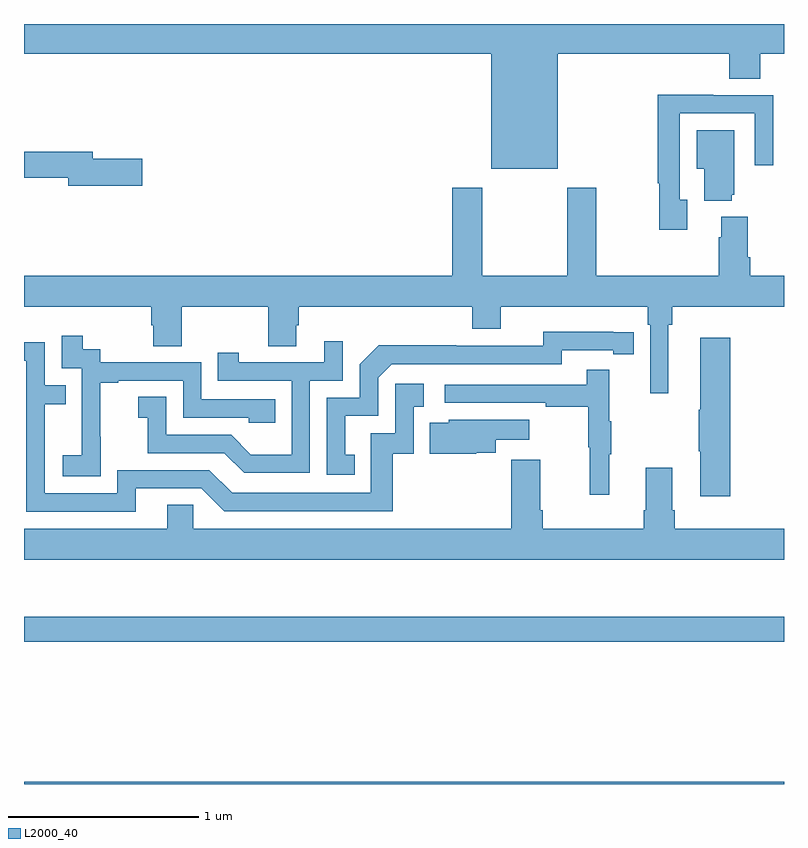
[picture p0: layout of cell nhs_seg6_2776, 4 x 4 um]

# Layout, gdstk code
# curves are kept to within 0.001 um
import gdstk
lib = gdstk.Library(unit=1e-6, precision=1e-09)
def R(c, l, rs):  # rectangles x0, y0, x1, y1
    for r in rs: c.add(gdstk.rectangle(r[:2], r[2:], *l))
def P(c, l, *ps):  # polygons
    for p in ps: c.add(gdstk.Polygon(p, *l))
L2000_40 = (2000, 40)

nhs_seg6_2776 = lib.new_cell('nhs_seg6_2776')
R(nhs_seg6_2776, L2000_40, [(275,935.5,279,935.512), (275,936.25,279,936.379)])
P(nhs_seg6_2776, L2000_40, [(277.81,939.344),(278.711,939.344),(278.711,939.211),(278.876,939.211),(278.876,939.344),(279,939.344),(279,939.5),(275,939.5),(275,939.344),(277.46,939.344),(277.46,938.738),(277.81,938.738)],
  [(278.491,938.574),(278.451,938.574),(278.451,939.03),(278.847,939.03),(278.847,938.757),(278.943,938.757),(278.943,939.126),(278.627,939.126),(278.627,939.128),(278.335,939.128),(278.335,938.662),(278.343,938.662),(278.343,938.418),(278.491,938.418)],
  [(278.726,938.601),(278.737,938.601),(278.737,938.941),(278.54,938.941),(278.54,938.738),(278.579,938.738),(278.579,938.57),(278.726,938.57)],
  [(275.623,938.792),(275.362,938.792),(275.362,938.828),(275,938.828),(275,938.692),(275.234,938.692),(275.234,938.65),(275.623,938.65)],
  [(278.392,937.916),(278.411,937.916),(278.411,938.012),(279,938.012),(279,938.176),(278.822,938.176),(278.822,938.272),(278.809,938.272),(278.809,938.485),(278.669,938.485),(278.669,938.378),(278.657,938.378),(278.657,938.176),(278.013,938.176),(278.013,938.638),(277.858,938.638),(277.858,938.176),(277.413,938.176),(277.413,938.638),(277.253,938.638),(277.253,938.176),(275,938.176),(275,938.012),(275.669,938.012),(275.669,937.914),(275.681,937.914),(275.681,937.804),(275.829,937.804),(275.829,938.012),(276.286,938.012),(276.286,937.804),(276.433,937.804),(276.433,937.914),(276.446,937.914),(276.446,938.012),(277.358,938.012),(277.358,937.895),(277.51,937.895),(277.51,938.012),(278.282,938.012),(278.282,937.916),(278.295,937.916),(278.295,937.557),(278.392,937.557)],
  [(276.74,937.233),(276.691,937.233),(276.691,937.437),(276.864,937.437),(276.864,937.638),(276.936,937.71),(277.83,937.71),(277.83,937.782),(278.102,937.782),(278.102,937.762),(278.21,937.762),(278.21,937.878),(277.734,937.879),(277.734,937.806),(277.274,937.806),(277.274,937.808),(276.866,937.808),(276.768,937.71),(276.768,937.533),(276.594,937.533),(276.594,937.128),(276.74,937.128)],
  [(275.403,937.327),(275.402,937.327),(275.402,937.611),(275.497,937.611),(275.497,937.623),(275.838,937.623),(275.838,937.428),(276.183,937.428),(276.183,937.401),(276.323,937.401),(276.323,937.524),(275.934,937.524),(275.934,937.719),(275.4,937.719),(275.4,937.788),(275.308,937.788),(275.308,937.858),(275.199,937.858),(275.199,937.689),(275.304,937.689),(275.304,937.46),(275.303,937.46),(275.303,937.231),(275.205,937.231),(275.205,937.121),(275.403,937.121)],
  [(278.717,937.849),(278.558,937.849),(278.558,937.469),(278.551,937.469),(278.551,937.252),(278.558,937.252),(278.558,937.014),(278.717,937.014)],
  [(276.504,937.623),(276.678,937.623),(276.678,937.831),(276.581,937.831),(276.581,937.719),(276.13,937.719),(276.13,937.771),(276.019,937.771),(276.019,937.623),(276.408,937.623),(276.408,937.234),(276.194,937.234),(276.09,937.338),(275.748,937.338),(275.748,937.537),(275.601,937.537),(275.601,937.427),(275.65,937.427),(275.65,937.242),(276.053,937.242),(276.158,937.137),(276.504,937.137)],
  [(275.587,937.056),(275.934,937.056),(276.054,936.936),(276.941,936.936),(276.941,937.239),(277.05,937.239),(277.05,937.485),(277.105,937.485),(277.105,937.606),(276.954,937.606),(276.954,937.347),(276.825,937.347),(276.825,937.032),(276.096,937.032),(275.976,937.152),(275.49,937.152),(275.49,937.029),(275.109,937.029),(275.109,937.498),(275.219,937.498),(275.219,937.599),(275.109,937.599),(275.109,937.824),(275,937.824),(275,937.728),(275.013,937.728),(275.013,936.933),(275.587,936.933)],
  [(278.081,937.235),(278.092,937.235),(278.092,937.409),(278.081,937.409),(278.081,937.681),(277.963,937.681),(277.963,937.602),(277.215,937.602),(277.215,937.506),(277.747,937.506),(277.747,937.486),(277.971,937.486),(277.971,937.272),(277.978,937.272),(277.978,937.023),(278.081,937.023)],
  [(277.379,937.244),(277.483,937.244),(277.483,937.313),(277.66,937.313),(277.66,937.417),(277.236,937.417),(277.236,937.402),(277.135,937.402),(277.135,937.237),(277.379,937.237)],
  [(279,936.844),(278.426,936.844),(278.426,936.94),(278.413,936.94),(278.413,937.165),(278.273,937.165),(278.273,936.94),(278.261,936.94),(278.261,936.844),(277.73,936.844),(277.73,936.94),(277.717,936.94),(277.717,937.207),(277.565,937.207),(277.565,936.844),(275.892,936.844),(275.892,936.971),(275.753,936.971),(275.753,936.844),(275,936.844),(275,936.68),(279,936.68)])

lib.write_gds('nhs_seg6_2776.gds')
